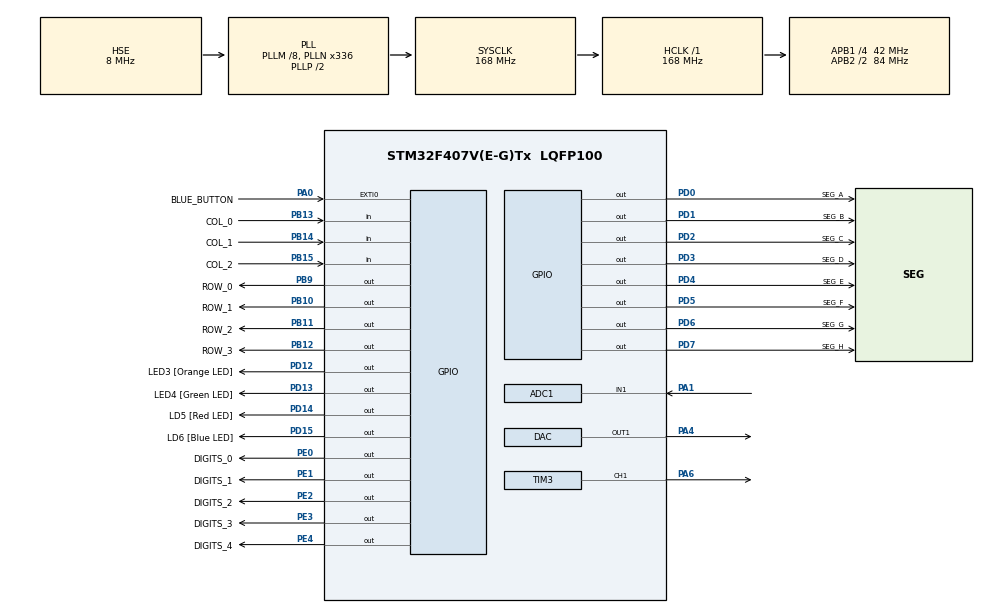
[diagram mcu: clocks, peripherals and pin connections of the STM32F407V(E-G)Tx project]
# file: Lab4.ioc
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ADC1.Channel-12\#ChannelRegularConversion=ADC_CHANNEL_1
ADC1.ClockPrescaler=ADC_CLOCK_SYNC_PCLK_DIV4
ADC1.ContinuousConvMode=DISABLE
ADC1.DMAContinuousRequests=DISABLE
ADC1.DataAlign=ADC_DATAALIGN_RIGHT
ADC1.DiscontinuousConvMode=DISABLE
ADC1.EOCSelection=ADC_EOC_SEQ_CONV
ADC1.EnableAnalogWatchDog=false
ADC1.ExternalTrigConv=ADC_EXTERNALTRIGCONV_T2_TRGO
ADC1.ExternalTrigConvEdge=ADC_EXTERNALTRIGCONVEDGE_RISING
ADC1.InjNumberOfConversion=0
ADC1.NbrOfConversion=1
ADC1.NbrOfConversionFlag=1
ADC1.Rank-12\#ChannelRegularConversion=1
ADC1.Resolution=ADC_RESOLUTION_12B
ADC1.SamplingTime-12\#ChannelRegularConversion=ADC_SAMPLETIME_480CYCLES
ADC1.ScanConvMode=DISABLE
ADC1.master=1
Dma.ADC1.0.Direction=DMA_PERIPH_TO_MEMORY
Dma.ADC1.0.FIFOMode=DMA_FIFOMODE_DISABLE
Dma.ADC1.0.Instance=DMA2_Stream0
Dma.ADC1.0.MemDataAlignment=DMA_MDATAALIGN_HALFWORD
Dma.ADC1.0.MemInc=DMA_MINC_ENABLE
Dma.ADC1.0.Mode=DMA_CIRCULAR
Dma.ADC1.0.PeriphDataAlignment=DMA_PDATAALIGN_HALFWORD
Dma.ADC1.0.PeriphInc=DMA_PINC_DISABLE
Dma.ADC1.0.Priority=DMA_PRIORITY_MEDIUM
Dma.Request0=ADC1
FREERTOS.Tasks01=defaultTask,0,128,StartDefaultTask,Default,NULL
Mcu.Family=STM32F4
Mcu.Name=STM32F407V(E-G)Tx
Mcu.Package=LQFP100
NVIC.DMA2_Stream0_IRQn=true\:5\:0\:false\:false\:true\:true\:false
NVIC.EXTI0_IRQn=true\:5\:0\:false\:false\:true\:true\:true
NVIC.PriorityGroup=NVIC_PRIORITYGROUP_4
NVIC.TIM1_UP_TIM10_IRQn=true\:0\:0\:false\:false\:true\:false\:false
NVIC.TIM2_IRQn=true\:5\:0\:true\:false\:true\:true\:true
NVIC.TIM3_IRQn=true\:5\:0\:false\:false\:true\:true\:true
NVIC.TimeBase=TIM1_UP_TIM10_IRQn
NVIC.TimeBaseIP=TIM1
PA0-WKUP.GPIO_Label=BLUE_BUTTON
PA0-WKUP.Signal=GPXTI0
PA1.Signal=ADCx_IN1
PA4.Signal=COMP_DAC1_group
PA6.Signal=S_TIM3_CH1
PB10.GPIO_Label=ROW_1
PB10.Signal=GPIO_Output
PB11.GPIO_Label=ROW_2
PB11.Signal=GPIO_Output
PB12.GPIO_Label=ROW_3
PB12.Signal=GPIO_Output
PB13.GPIO_Label=COL_0
PB13.GPIO_PuPd=GPIO_PULLDOWN
PB13.Signal=GPIO_Input
PB14.GPIO_Label=COL_1
PB14.GPIO_PuPd=GPIO_PULLDOWN
PB14.Signal=GPIO_Input
PB15.GPIO_Label=COL_2
PB15.GPIO_PuPd=GPIO_PULLDOWN
PB15.Signal=GPIO_Input
PB9.GPIO_Label=ROW_0
PB9.Signal=GPIO_Output
PD0.GPIO_Label=SEG_A
PD0.GPIO_Speed=GPIO_SPEED_FREQ_HIGH
PD0.PinState=GPIO_PIN_RESET
PD0.Signal=GPIO_Output
PD1.GPIO_Label=SEG_B
PD1.GPIO_Speed=GPIO_SPEED_FREQ_HIGH
PD1.Signal=GPIO_Output
PD12.GPIO_Label=LED3 [Orange LED]
PD12.Signal=GPIO_Output
PD13.GPIO_Label=LED4 [Green LED]
PD13.Signal=GPIO_Output
PD14.GPIO_Label=LD5 [Red LED]
PD14.Signal=GPIO_Output
PD15.GPIO_Label=LD6 [Blue LED]
PD15.Signal=GPIO_Output
PD2.GPIO_Label=SEG_C
PD2.GPIO_Speed=GPIO_SPEED_FREQ_HIGH
PD2.Signal=GPIO_Output
PD3.GPIO_Label=SEG_D
PD3.GPIO_Speed=GPIO_SPEED_FREQ_HIGH
PD3.Signal=GPIO_Output
PD4.GPIO_Label=SEG_E
PD4.GPIO_Speed=GPIO_SPEED_FREQ_HIGH
PD4.Signal=GPIO_Output
PD5.GPIO_Label=SEG_F
PD5.GPIO_Speed=GPIO_SPEED_FREQ_HIGH
PD5.Signal=GPIO_Output
PD6.GPIO_Label=SEG_G
PD6.GPIO_Speed=GPIO_SPEED_FREQ_HIGH
PD6.PinState=GPIO_PIN_RESET
PD6.Signal=GPIO_Output
PD7.GPIO_Label=SEG_H
PD7.GPIO_Speed=GPIO_SPEED_FREQ_HIGH
PD7.Signal=GPIO_Output
PE0.GPIO_Label=DIGITS_0
PE0.GPIO_Speed=GPIO_SPEED_FREQ_HIGH
PE0.PinState=GPIO_PIN_RESET
PE0.Signal=GPIO_Output
PE1.GPIO_Label=DIGITS_1
PE1.GPIO_Speed=GPIO_SPEED_FREQ_HIGH
PE1.Signal=GPIO_Output
PE2.GPIO_Label=DIGITS_2
PE2.GPIO_Speed=GPIO_SPEED_FREQ_HIGH
PE2.Signal=GPIO_Output
PE3.GPIO_Label=DIGITS_3
PE3.GPIO_Speed=GPIO_SPEED_FREQ_HIGH
PE3.Signal=GPIO_Output
PE4.GPIO_Label=DIGITS_4
PE4.GPIO_Speed=GPIO_SPEED_FREQ_HIGH
PE4.Signal=GPIO_Output
PH0-OSC_IN.Mode=HSE-External-Oscillator
PH0-OSC_IN.Signal=RCC_OSC_IN
PH1-OSC_OUT.Mode=HSE-External-Oscillator
PH1-OSC_OUT.Signal=RCC_OSC_OUT
ProjectManager.HeapSize=0x200
ProjectManager.StackSize=0x400
ProjectManager.TargetToolchain=MDK-ARM V5
RCC.48MHZClocksFreq_Value=84000000
RCC.AHBFreq_Value=168000000
RCC.APB1CLKDivider=RCC_HCLK_DIV4
RCC.APB1Freq_Value=42000000
RCC.APB1TimFreq_Value=84000000
RCC.APB2CLKDivider=RCC_HCLK_DIV2
RCC.APB2Freq_Value=84000000
RCC.APB2TimFreq_Value=168000000
RCC.CortexFreq_Value=168000000
RCC.HCLKFreq_Value=168000000
RCC.HSE_VALUE=8000000
RCC.HSI_VALUE=16000000
RCC.LSE_VALUE=32768
RCC.PLLM=8
RCC.PLLN=336
RCC.PLLSourceVirtual=RCC_PLLSOURCE_HSE
RCC.SYSCLKFreq_VALUE=168000000
RCC.SYSCLKSource=RCC_SYSCLKSOURCE_PLLCLK
RCC.VCOOutputFreq_Value=336000000
SH.ADCx_IN1.0=ADC1_IN1,IN1
SH.COMP_DAC1_group.0=DAC_OUT1,DAC_OUT1
SH.S_TIM3_CH1.0=TIM3_CH1,PWM Generation1 CH1
TIM2.Period=1000
TIM2.Prescaler=83
TIM2.TIM_MasterOutputTrigger=TIM_TRGO_UPDATE
TIM3.Channel-PWM\ Generation1\ CH1=TIM_CHANNEL_1
TIM3.Period=8400
TIM3.Prescaler=0
VP_FREERTOS_VS_ENABLE.Mode=Enabled
VP_SYS_VS_tim1.Mode=TIM1
VP_TIM2_VS_ClockSourceINT.Mode=Internal
VP_TIM3_VS_ClockSourceINT.Mode=Internal
board=Lab4

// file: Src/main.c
/**
  ******************************************************************************
  * @file           : main.c
  * @brief          : Main program body
  ******************************************************************************
  * This notice applies to any and all portions of this file
  * that are not between comment pairs USER CODE BEGIN and
  * USER CODE END. Other portions of this file, whether
  * inserted by the user or by software development tools
  * are owned by their respective copyright owners.
  *
  * Copyright (c) 2018 STMicroelectronics International N.V.
  * All rights reserved.
  *
  * Redistribution and use in source and binary forms, with or without
  * modification, are permitted, provided that the following conditions are met:
  *
  * 1. Redistribution of source code must retain the above copyright notice,
  *    this list of conditions and the following disclaimer.
  * 2. Redistributions in binary form must reproduce the above copyright notice,
  *    this list of conditions and the following disclaimer in the documentation
  *    and/or other materials provided with the distribution.
  * 3. Neither the name of STMicroelectronics nor the names of other
  *    contributors to this software may be used to endorse or promote products
  *    derived from this software without specific written permission.
  * 4. This software, including modifications and/or derivative works of this
  *    software, must execute solely and exclusively on microcontroller or
  *    microprocessor devices manufactured by or for STMicroelectronics.
  * 5. Redistribution and use of this software other than as permitted under
  *    this license is void and will automatically terminate your rights under
  *    this license.
  *
  * THIS SOFTWARE IS PROVIDED BY STMICROELECTRONICS AND CONTRIBUTORS "AS IS"
  * AND ANY EXPRESS, IMPLIED OR STATUTORY WARRANTIES, INCLUDING, BUT NOT
  * LIMITED TO, THE IMPLIED WARRANTIES OF MERCHANTABILITY, FITNESS FOR A
  * PARTICULAR PURPOSE AND NON-INFRINGEMENT OF THIRD PARTY INTELLECTUAL PROPERTY
  * RIGHTS ARE DISCLAIMED TO THE FULLEST EXTENT PERMITTED BY LAW. IN NO EVENT
  * SHALL STMICROELECTRONICS OR CONTRIBUTORS BE LIABLE FOR ANY DIRECT, INDIRECT,
  * INCIDENTAL, SPECIAL, EXEMPLARY, OR CONSEQUENTIAL DAMAGES (INCLUDING, BUT NOT
  * LIMITED TO, PROCUREMENT OF SUBSTITUTE GOODS OR SERVICES; LOSS OF USE, DATA,
  * OR PROFITS; OR BUSINESS INTERRUPTION) HOWEVER CAUSED AND ON ANY THEORY OF
  * LIABILITY, WHETHER IN CONTRACT, STRICT LIABILITY, OR TORT (INCLUDING
  * NEGLIGENCE OR OTHERWISE) ARISING IN ANY WAY OUT OF THE USE OF THIS SOFTWARE,
  * EVEN IF ADVISED OF THE POSSIBILITY OF SUCH DAMAGE.
  *
  ******************************************************************************
  */
#include "main.h"
#include "stm32f4xx_hal.h"
#include "cmsis_os.h"
#include "adc.h"
#include "dac.h"
#include "dma.h"
#include "tim.h"
#include "gpio.h"

/* USER CODE BEGIN Includes */

#include "math.h"

#ifdef __stdio_h
#include <stdio.h>
#endif

#ifndef bool
#include <stdbool.h>
#endif

#ifndef __segment_display_h
#include "segment_display.h"
#endif

#ifndef __fsm_h
#include "fsm.h"
#endif

#ifndef __adc_thread_h
#include "adc_thread.h"
#endif

/* USER CODE END Includes */

/* USER CODE BEGIN PV */
/* Private variables ---------------------------------------------------------*/
const int PWM_TIMER_PERIOD = 1680;

uint32_t adc_buffer_full = 0;

/* USER CODE END PV */

void SystemClock_Config(void);
void MX_FREERTOS_Init(void);

/* USER CODE BEGIN PFP */
/* Private function prototypes -----------------------------------------------*/

// Called in order to adjust the duty cycle.
void adjust_duty_cycle(float current_rms);

extern uint32_t ADCBufferDMA[];

// Function that is called whenever the blue button is pressed.
void button_pressed_callback(void);
void pwm_duty_cycle(uint16_t new_period);

/* USER CODE END PFP */

/* USER CODE BEGIN 0 */

// Called when the buffer is filled.
void HAL_ADC_ConvCpltCallback(ADC_HandleTypeDef* AdcHandle)
{
	extern osThreadId adcTaskHandle;
	if(AdcHandle->Instance == ADC1){

//		adc_buffer_full_callback();
//		HAL_ADC_Stop_DMA(&hadc1);
//		HAL_ADC_Start_DMA(&hadc1, ADCBufferDMA, ADC_BUFFER_SIZE);

		osSignalSet(adcTaskHandle, adc_buffer_full);
	}
}
/** Called whenever an EXTI interrupt occurs (i.e. button press)
*
*/
void HAL_GPIO_EXTI_Callback(uint16_t pin){
	switch(pin){
		case BLUE_BUTTON_Pin:
			button_pressed_callback();
			break;
		default:
			printf("EXTI interrupt!\n");
	}

}

 void button_pressed_callback(){
	extern uint8_t display_mode;
	display_mode++;
	display_mode %= 3;
	switch(display_mode){
		case DISPLAY_RMS:
			// TODO: display one of the LEDs
			HAL_GPIO_WritePin(GPIOD, LED3_Pin, GPIO_PIN_SET);
			HAL_GPIO_WritePin(GPIOD, LED4_Pin, GPIO_PIN_RESET);
			HAL_GPIO_WritePin(GPIOD, LD5_Pin, GPIO_PIN_RESET);
			break;
		case DISPLAY_MIN:
			HAL_GPIO_WritePin(GPIOD, LED3_Pin, GPIO_PIN_RESET);
			HAL_GPIO_WritePin(GPIOD, LED4_Pin, GPIO_PIN_SET);
			HAL_GPIO_WritePin(GPIOD, LD5_Pin, GPIO_PIN_RESET);
			break;
		case DISPLAY_MAX:
			HAL_GPIO_WritePin(GPIOD, LED3_Pin, GPIO_PIN_RESET);
			HAL_GPIO_WritePin(GPIOD, LED4_Pin, GPIO_PIN_RESET);
			HAL_GPIO_WritePin(GPIOD, LD5_Pin, GPIO_PIN_SET);
			break;
	}
}

/* USER CODE END 0 */

int main(void)
{

  /* MCU Configuration----------------------------------------------------------*/

  /* Reset of all peripherals, Initializes the Flash interface and the Systick. */
  HAL_Init();

  /* Configure the system clock */
  SystemClock_Config();

  /* Initialize all configured peripherals */
  MX_GPIO_Init();
  MX_DMA_Init();
  MX_DAC_Init();
  MX_ADC1_Init();
  MX_TIM2_Init();
  MX_TIM3_Init();
  /* USER CODE BEGIN 2 */

	// Start the timers.
	HAL_TIM_Base_Start(&htim2);
	HAL_TIM_Base_Start(&htim3);
	HAL_TIM_PWM_Start(&htim3,TIM_CHANNEL_1);

  HAL_TIM_Base_Start_DMA(&htim2, ADCBufferDMA, ADC_BUFFER_SIZE);

	HAL_ADC_Start_DMA(&hadc1, ADCBufferDMA, ADC_BUFFER_SIZE);

	//sleep();
  /* USER CODE END 2 */

  /* Call init function for freertos objects (in freertos.c) */
  MX_FREERTOS_Init();

  /* Start scheduler */
  osKernelStart();

  /* We should never get here as control is now taken by the scheduler */

  /* Infinite loop */
  while (1)
  {

  }

}

void SystemClock_Config(void)
{

  RCC_OscInitTypeDef RCC_OscInitStruct;
  RCC_ClkInitTypeDef RCC_ClkInitStruct;

    /**Configure the main internal regulator output voltage
    */
  __HAL_RCC_PWR_CLK_ENABLE();

  __HAL_PWR_VOLTAGESCALING_CONFIG(PWR_REGULATOR_VOLTAGE_SCALE1);

    /**Initializes the CPU, AHB and APB busses clocks
    */
  RCC_OscInitStruct.OscillatorType = RCC_OSCILLATORTYPE_HSE;
  RCC_OscInitStruct.HSEState = RCC_HSE_ON;
  RCC_OscInitStruct.PLL.PLLState = RCC_PLL_ON;
  RCC_OscInitStruct.PLL.PLLSource = RCC_PLLSOURCE_HSE;
  RCC_OscInitStruct.PLL.PLLM = 8;
  RCC_OscInitStruct.PLL.PLLN = 336;
  RCC_OscInitStruct.PLL.PLLP = RCC_PLLP_DIV2;
  RCC_OscInitStruct.PLL.PLLQ = 4;
  if (HAL_RCC_OscConfig(&RCC_OscInitStruct) != HAL_OK)
  {
    _Error_Handler(__FILE__, __LINE__);
  }

    /**Initializes the CPU, AHB and APB busses clocks
    */
  RCC_ClkInitStruct.ClockType = RCC_CLOCKTYPE_HCLK|RCC_CLOCKTYPE_SYSCLK
                              |RCC_CLOCKTYPE_PCLK1|RCC_CLOCKTYPE_PCLK2;
  RCC_ClkInitStruct.SYSCLKSource = RCC_SYSCLKSOURCE_PLLCLK;
  RCC_ClkInitStruct.AHBCLKDivider = RCC_SYSCLK_DIV1;
  RCC_ClkInitStruct.APB1CLKDivider = RCC_HCLK_DIV4;
  RCC_ClkInitStruct.APB2CLKDivider = RCC_HCLK_DIV2;

  if (HAL_RCC_ClockConfig(&RCC_ClkInitStruct, FLASH_LATENCY_5) != HAL_OK)
  {
    _Error_Handler(__FILE__, __LINE__);
  }

    /**Configure the Systick interrupt time
    */
  HAL_SYSTICK_Config(HAL_RCC_GetHCLKFreq()/1000);

    /**Configure the Systick
    */
  HAL_SYSTICK_CLKSourceConfig(SYSTICK_CLKSOURCE_HCLK);

  /* SysTick_IRQn interrupt configuration */
  HAL_NVIC_SetPriority(SysTick_IRQn, 15, 0);
}

void HAL_TIM_PeriodElapsedCallback(TIM_HandleTypeDef *htim)
{
  if (htim->Instance == TIM1) {
    HAL_IncTick();
  }
}

void _Error_Handler(char *file, int line)
{
  while(1)
  {
  }
}

/************************ (C) COPYRIGHT STMicroelectronics *****END OF FILE****/

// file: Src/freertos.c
/**
  ******************************************************************************
  * File Name          : freertos.c
  * Description        : Code for freertos applications
  ******************************************************************************
  * This notice applies to any and all portions of this file
  * that are not between comment pairs USER CODE BEGIN and
  * USER CODE END. Other portions of this file, whether
  * inserted by the user or by software development tools
  * are owned by their respective copyright owners.
  *
  * Copyright (c) 2018 STMicroelectronics International N.V.
  * All rights reserved.
  *
  * Redistribution and use in source and binary forms, with or without
  * modification, are permitted, provided that the following conditions are met:
  *
  * 1. Redistribution of source code must retain the above copyright notice,
  *    this list of conditions and the following disclaimer.
  * 2. Redistributions in binary form must reproduce the above copyright notice,
  *    this list of conditions and the following disclaimer in the documentation
  *    and/or other materials provided with the distribution.
  * 3. Neither the name of STMicroelectronics nor the names of other
  *    contributors to this software may be used to endorse or promote products
  *    derived from this software without specific written permission.
  * 4. This software, including modifications and/or derivative works of this
  *    software, must execute solely and exclusively on microcontroller or
  *    microprocessor devices manufactured by or for STMicroelectronics.
  * 5. Redistribution and use of this software other than as permitted under
  *    this license is void and will automatically terminate your rights under
  *    this license.
  *
  * THIS SOFTWARE IS PROVIDED BY STMICROELECTRONICS AND CONTRIBUTORS "AS IS"
  * AND ANY EXPRESS, IMPLIED OR STATUTORY WARRANTIES, INCLUDING, BUT NOT
  * LIMITED TO, THE IMPLIED WARRANTIES OF MERCHANTABILITY, FITNESS FOR A
  * PARTICULAR PURPOSE AND NON-INFRINGEMENT OF THIRD PARTY INTELLECTUAL PROPERTY
  * RIGHTS ARE DISCLAIMED TO THE FULLEST EXTENT PERMITTED BY LAW. IN NO EVENT
  * SHALL STMICROELECTRONICS OR CONTRIBUTORS BE LIABLE FOR ANY DIRECT, INDIRECT,
  * INCIDENTAL, SPECIAL, EXEMPLARY, OR CONSEQUENTIAL DAMAGES (INCLUDING, BUT NOT
  * LIMITED TO, PROCUREMENT OF SUBSTITUTE GOODS OR SERVICES; LOSS OF USE, DATA,
  * OR PROFITS; OR BUSINESS INTERRUPTION) HOWEVER CAUSED AND ON ANY THEORY OF
  * LIABILITY, WHETHER IN CONTRACT, STRICT LIABILITY, OR TORT (INCLUDING
  * NEGLIGENCE OR OTHERWISE) ARISING IN ANY WAY OUT OF THE USE OF THIS SOFTWARE,
  * EVEN IF ADVISED OF THE POSSIBILITY OF SUCH DAMAGE.
  *
  ******************************************************************************
  */

#include "FreeRTOS.h"
#include "task.h"
#include "cmsis_os.h"

/* USER CODE BEGIN Includes */

#ifndef __adc_thread_h
#include "adc_thread.h"
#endif

#ifndef __display_thread_h
#include "display_thread.h"
#endif

#ifndef __keypad_thread_h
#include "keypad_thread.h"
#endif

/* USER CODE END Includes */

osThreadId defaultTaskHandle;

/* USER CODE BEGIN Variables */

osThreadId displayTaskHandle;
osThreadId keypadTaskHandle;
osThreadId adcTaskHandle;

/* USER CODE END Variables */

void StartDefaultTask(void const * argument);

void MX_FREERTOS_Init(void); /* (MISRA C 2004 rule 8.1) */

/* USER CODE BEGIN FunctionPrototypes */

extern void StartDisplayTask(void const * arguments);

extern void StartKeypadTask(void const * arguments);

extern void StartAdcTask(void const * arguments);

/* USER CODE END FunctionPrototypes */

/* Hook prototypes */

/* Init FreeRTOS */

void MX_FREERTOS_Init(void) {

  /* Create the thread(s) */
  /* definition and creation of defaultTask */
  osThreadDef(defaultTask, StartDefaultTask, osPriorityNormal, 0, 128);
  defaultTaskHandle = osThreadCreate(osThread(defaultTask), NULL);

  /* USER CODE BEGIN RTOS_THREADS */
  /* add threads, ... */
	osThreadDef(displayTask, StartDisplayTask, osPriorityNormal, 0, 128);
	displayTaskHandle = osThreadCreate(osThread(displayTask), NULL);

	osThreadDef(keypadTask, StartKeypadTask, osPriorityNormal, 0, 128);
	keypadTaskHandle = osThreadCreate(osThread(keypadTask), NULL);

	// TODO: the ADC thread is misbehaving. Shutting it off for now.
	osThreadDef(adcTask, StartAdcTask, osPriorityNormal, 0, 128);
	adcTaskHandle = osThreadCreate(osThread(adcTask), NULL);

	// TODO: not sure if the ADC should be a thread, since its being called with an interrupt whenever the buffer is full anyway...

  /* USER CODE END RTOS_THREADS */

}

/* StartDefaultTask function */
void StartDefaultTask(void const * argument)
{

  for(;;)
  {
    osDelay(1);
  }
}

/************************ (C) COPYRIGHT STMicroelectronics *****END OF FILE****/
